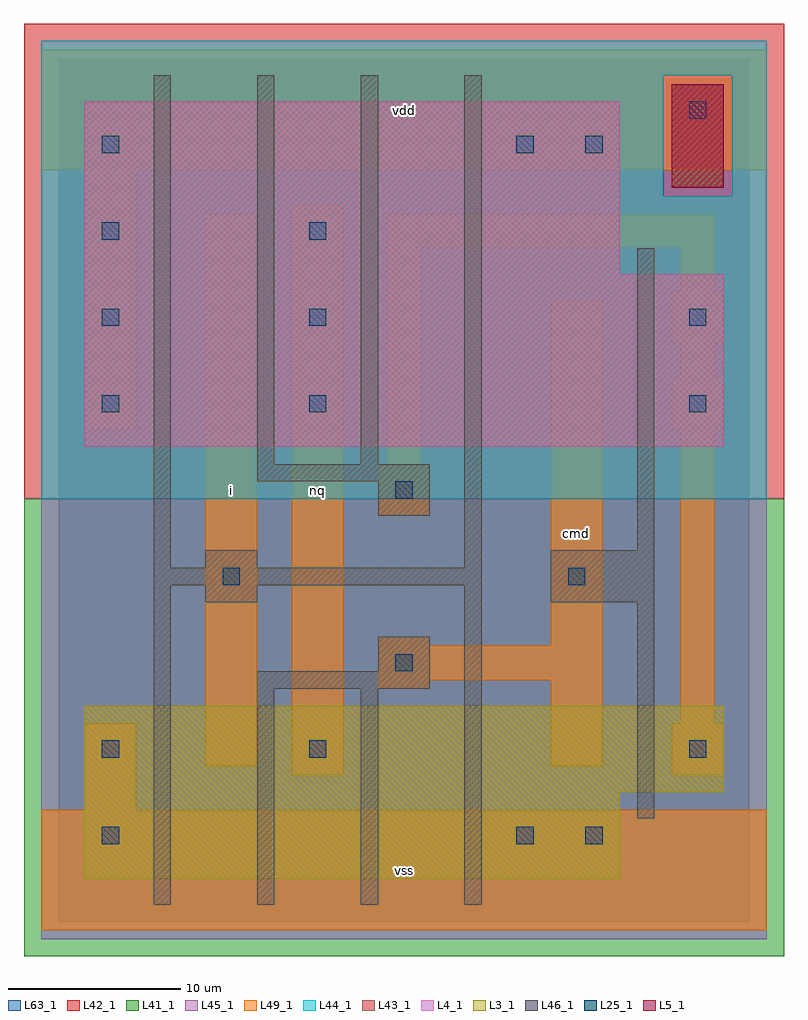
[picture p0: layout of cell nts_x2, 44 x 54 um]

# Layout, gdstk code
import gdstk
lib = gdstk.Library(unit=1e-6, precision=1e-09)
def R(c, l, rs):  # rectangles x0, y0, x1, y1
    for r in rs: c.add(gdstk.rectangle(r[:2], r[2:], *l))
def A(c, l, x, y, w, h, nx, ny, dx, dy):  # array of equal rectangles
    R(c, l, [(x+i*dx, y+j*dy, x+i*dx+w, y+j*dy+h) for i in range(nx) for j in range(ny)])
L3_1 = (3, 1)
L4_1 = (4, 1)
L5_1 = (5, 1)
L25_1 = (25, 1)
L41_1 = (41, 1)
L42_1 = (42, 1)
L43_1 = (43, 1)
L44_1 = (44, 1)
L45_1 = (45, 1)
L46_1 = (46, 1)
L49_1 = (49, 1)
L63_1 = (63, 1)

nts_x2 = lib.new_cell('nts_x2')
R(nts_x2, L3_1, [(1.5,2.5,32.5,7.5), (1.5,7.5,38.5,12.5)])
R(nts_x2, L4_1, [(1.5,27.5,38.5,37.5), (1.5,37.5,32.5,47.5)])
R(nts_x2, L5_1, [(35.5,42.5,38.5,48.5)])
A(nts_x2, L25_1, 2.5, 29.5, 1, 1, 1, 4, 0, 5)
A(nts_x2, L25_1, 14.5, 29.5, 1, 1, 1, 3, 0, 5)
R(nts_x2, L25_1, [(2.5,4.5,3.5,5.5), (26.5,4.5,27.5,5.5), (30.5,4.5,31.5,5.5), (2.5,9.5,3.5,10.5), (14.5,9.5,15.5,10.5), (36.5,9.5,37.5,10.5), (19.5,14.5,20.5,15.5), (9.5,19.5,10.5,20.5), (29.5,19.5,30.5,20.5), (19.5,24.5,20.5,25.5), (36.5,29.5,37.5,30.5), (36.5,34.5,37.5,35.5), (26.5,44.5,27.5,45.5), (30.5,44.5,31.5,45.5), (36.5,46.5,37.5,47.5)])
R(nts_x2, L41_1, [(-2,-2,42,24.5)])
R(nts_x2, L42_1, [(-2,24.5,42,52)])
R(nts_x2, L43_1, [(1.5,2.5,32.5,7.5), (1.5,7.5,38.5,12.5), (1.5,27.5,38.5,37.5), (1.5,37.5,32.5,47.5), (35.5,42.5,38.5,48.5)])
R(nts_x2, L44_1, [(-1,24.5,41,42), (-1,42,35,49), (39,42,41,49), (-1,49,41,51)])
R(nts_x2, L45_1, [(-1,-1,41,24.5), (35,42,39,49)])
R(nts_x2, L46_1, [(5.5,1,6.5,19.5), (11.5,1,12.5,13.5), (17.5,1,18.5,13.5), (23.5,1,24.5,19.5), (33.5,6,34.5,18.5), (11.5,13.5,21.5,14.5), (18.5,14.5,21.5,16.5), (8.5,18.5,11.5,19.5), (28.5,18.5,34.5,21.5), (5.5,19.5,24.5,20.5), (5.5,20.5,6.5,49), (8.5,20.5,11.5,21.5), (23.5,20.5,24.5,49), (33.5,21.5,34.5,39), (18.5,23.5,21.5,25.5), (11.5,25.5,21.5,26.5), (11.5,26.5,12.5,49), (17.5,26.5,18.5,49)])
R(nts_x2, L49_1, [(-1,-0.5,41,6.5), (1.5,6.5,4.5,11.5), (13.5,8.5,16.5,41.5), (35.5,8.5,38.5,11.5), (8.5,9,11.5,41), (28.5,9,31.5,14), (36,11.5,38,28.5), (18.5,13.5,21.5,14), (18.5,14,31.5,16), (18.5,16,21.5,16.5), (28.5,16,31.5,36), (18.5,23.5,21.5,26.5), (19,26.5,21,39), (1.5,28.5,4.5,43.5), (35.5,28.5,38.5,31.5), (36,31.5,38,33.5), (35.5,33.5,38.5,36.5), (36,36.5,38,39), (19,39,38,41), (-1,43.5,41,50.5)])
R(nts_x2, L63_1, [(0,0,40,50)])
nts_x2.add(gdstk.Label('nq', (15,25), layer=49, texttype=1))
nts_x2.add(gdstk.Label('nq', (15,25), layer=49, texttype=1))
nts_x2.add(gdstk.Label('i', (10,25), layer=49, texttype=1))
nts_x2.add(gdstk.Label('i', (10,25), layer=49, texttype=1))
nts_x2.add(gdstk.Label('vss', (20,3), layer=49, texttype=1))
nts_x2.add(gdstk.Label('vss', (20,3), layer=49, texttype=1))
nts_x2.add(gdstk.Label('cmd', (30,22.5), layer=49, texttype=1))
nts_x2.add(gdstk.Label('cmd', (30,22.5), layer=49, texttype=1))
nts_x2.add(gdstk.Label('vdd', (20,47), layer=49, texttype=1))
nts_x2.add(gdstk.Label('vdd', (20,47), layer=49, texttype=1))

lib.write_gds('nts_x2.gds')
